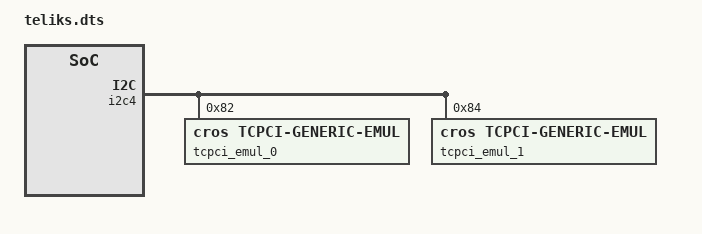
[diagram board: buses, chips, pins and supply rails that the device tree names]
/* Copyright 2024 The ChromiumOS Authors
 * Use of this source code is governed by a BSD-style license that can be
 * found in the LICENSE file.
 */

#include <it8xxx2_emul.dts>

#include "../program/nissa/cbi.dtsi"
#include "../program/nissa/teliks/cbi.dtsi"
#include "../program/nissa/teliks/motionsense.dtsi"

/ {
	named-gpios {
		compatible = "named-gpios";

		gpio_ec_entering_rw: ec_entering_rw {
			gpios = <&gpioc 7 GPIO_OUTPUT>;
			enum-name = "GPIO_ENTERING_RW";
		};
		gpio_en_usb_c0_cc1_vconn: en_usb_c0_cc1_vconn {
			gpios = <&gpioh 4 GPIO_OUTPUT>;
		};
		gpio_en_usb_c0_cc2_vconn: en_usb_c0_cc2_vconn {
			gpios = <&gpioh 6 GPIO_OUTPUT>;
		};
		gpio_usb_c0_int_odl: usb_c0_int_odl {
			gpios = <&gpiok 0 GPIO_INPUT_PULL_UP>;
		};
		gpio_imu_int_l: imu_int_l {
			gpios = <&gpioj 0 GPIO_INPUT>;
		};
		gpio_acc_int_l: acc_int_l {
			gpios = <&gpioc 0 GPIO_INPUT>;
		};
		gpio_tablet_mode_l: tablet_mode_l {
			gpios = <&gpioa 7 GPIO_INPUT>;
			enum-name = "GPIO_TABLET_MODE_L";
		};
		gpio_ec_battery_pres_odl: ec_battery_pres_odl {
			gpios = <&gpiol 5 GPIO_INPUT>;
			enum-name = "GPIO_BATT_PRES_ODL";
		};
	};

	gpio-interrupts {
		compatible = "cros-ec,gpio-interrupts";

		int_tablet_mode: tablet_mode {
			irq-pin = <&gpio_tablet_mode_l>;
			flags = <GPIO_INT_EDGE_BOTH>;
			handler = "gmr_tablet_switch_isr";
		};
		int_imu: ec_imu {
			irq-pin = <&gpio_imu_int_l>;
			flags = <GPIO_INT_EDGE_FALLING>;
			handler = "motion_interrupt";
		};
		int_lid_imu: lid_imu {
			irq-pin = <&gpio_acc_int_l>;
			flags = <GPIO_INT_EDGE_FALLING>;
			handler = "lid_accel_interrupt";
		};
	};

	named-i2c-ports {
		compatible = "named-i2c-ports";

		i2c_ec_i2c_sensor: ec_i2c_sensor {
			i2c-port = <&i2c0>;
			enum-names = "I2C_PORT_SENSOR";
		};
		i2c_ec_i2c_batt: ec_i2c_batt {
			i2c-port = <&i2c1>;
			enum-names = "I2C_PORT_BATTERY";
		};
	};

	usbc {
		#address-cells = <1>;
		#size-cells = <0>;
		port0@0 {
			compatible = "named-usbc-port";
			reg = <0>;
			tcpc = <&tcpci_emul_0>;
			usb-mux-chain-0 {
				compatible = "cros-ec,usb-mux-chain";
				usb-muxes = <&virtual_mux_0>;
			};
		};
		port1@1 {
			compatible = "named-usbc-port";
			reg = <1>;
			tcpc = <&tcpci_emul_1>;
			usb-mux-chain-1 {
				compatible = "cros-ec,usb-mux-chain";
				usb-muxes = <&virtual_mux_1>;
			};
		};
		port0-muxes {
			virtual_mux_0: virtual-mux-0 {
				compatible = "cros-ec,usbc-mux-virtual";
			};
		};
		port1-muxes {
			virtual_mux_1: virtual-mux-1 {
				compatible = "cros-ec,usbc-mux-virtual";
			};
		};
	};

	scancode-set2 {
		compatible = "cros-ec,scancode-set2";
		col0-codes  = <0x0000 0x0000 0x0000 0xe01f 0x0000 0x0000 0xe01f 0x0000>;
		col1-codes  = <0xe01f 0x0076 0x000d 0x000e 0x001c 0x001a 0x0016 0x0015>;
		col2-codes  = <0x0005 0x000c 0x0004 0x0006 0x0023 0x0021 0x0026 0x0024>;
		col3-codes  = <0x0032 0x0034 0x002c 0x002e 0x002b 0x002a 0x0025 0x002d>;
		col4-codes  = <0x0009 0x0083 0x000b 0x0003 0x001b 0x0022 0x001e 0x001d>;
		col5-codes  = <0x0051 0x0000 0x005b 0x0000 0x0042 0x0041 0x003e 0x0043>;
		col6-codes  = <0x0031 0x0033 0x0035 0x0036 0x003b 0x003a 0x003d 0x003c>;
		col7-codes  = <0x0000 0x0000 0x0061 0x0000 0x0000 0x0012 0x0000 0x0059>;
		col8-codes  = <0x0055 0x0052 0x0054 0x004e 0x004c 0x004a 0x0045 0x004d>;
		col9-codes  = <0x0000 0x0001 0x000a 0x002f 0x004b 0x0049 0x0046 0x0044>;
		col10-codes = <0xe011 0x0000 0x006a 0x0000 0xe01f 0x0000 0x005d 0x0000>;
		col11-codes = <0x0000 0x0066 0x0000 0x005d 0x005a 0x0029 0xe072 0xe075>;
		col12-codes = <0x0000 0x0064 0x0000 0x0067 0x0000 0x0000 0xe074 0xe06b>;
		col13-codes = <0x0000 0x0000 0x0000 0x0000 0x0000 0x0000 0x0011 0x0000>;
		col14-codes = <0x0000 0x0014 0x0000 0xe014 0x0000 0x0000 0x0000 0x0000>;
	};
};

&i2c4 {
	tcpci_emul_0: tcpci_emul@82 {
		compatible = "cros,tcpci-generic-emul";
		status = "okay";
		reg = <0x82>;
	};
};

&i2c4 {
	tcpci_emul_1: tcpci_emul@84 {
		compatible = "cros,tcpci-generic-emul";
		status = "okay";
		reg = <0x84>;
	};
};
